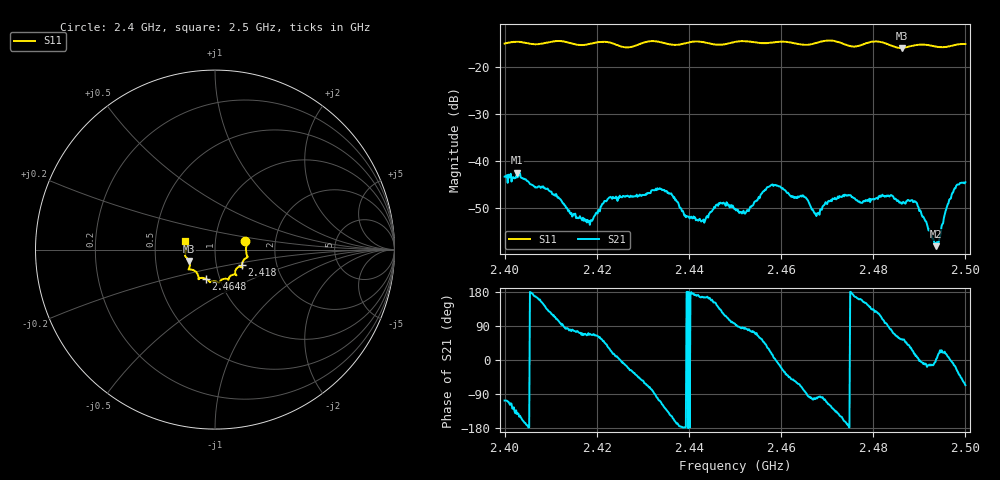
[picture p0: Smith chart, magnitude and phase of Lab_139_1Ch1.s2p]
# Hz S RI R 50
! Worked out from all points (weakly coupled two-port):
!   601 points, 2.4 GHz to 2.5 GHz, reference 50 ohm
!   highest |S21| = -42.56 dB at 2.4027 GHz (marker M1); lowest = -58.1 dB at 2.4937 GHz (marker M2)
!   lowest |S11| = -16.1 dB at 2.4862 GHz (marker M3), VSWR 1.37, Z = 37.1 - j4.83 ohm
!   |S11| at or under -10 dB: start of sweep to end of sweep
!   S12 and S22 are empty: the file has one direction only
!   S11 on the Smith chart (normalised r, x): 2.4 GHz: 1.40, +0.13; 2.418 GHz: 1.33, -0.23; 2.4648 GHz: 0.86, -0.29; 2.5 GHz: 0.71, +0.07
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2.4e9  0.1692 0.046  -0.00198 -0.00649  0 0  0 0
2.402667e9  0.1797 0.0339  -0.0059 -0.00454  0 0  0 0
2.409667e9  0.1784 -0.033  -0.00294 0.0038  0 0  0 0
2.416667e9  0.1547 -0.068  0.000962 0.00223  0 0  0 0
2.418e9  0.1501 -0.0835  0.000941 0.00216  0 0  0 0
2.422667e9  0.1514 -0.0985  0.00349 0.00209  0 0  0 0
2.433333e9  0.1175 -0.141  -0.00122 -0.00482  0 0  0 0
2.442e9  0.0744 -0.1688  -0.00228 0.000341  0 0  0 0
2.447e9  0.0435 -0.1648  -0.00231 0.00268  0 0  0 0
2.45e9  0.0253 -0.1809  -0.000309 0.00308  0 0  0 0
2.4525e9  0.0203 -0.1844  0.000383 0.00288  0 0  0 0
2.458167e9  -0.019 -0.179  0.00545 0.0013  0 0  0 0
2.464833e9  -0.0506 -0.1629  0.000869 -0.00418  0 0  0 0
2.466667e9  -0.0716 -0.1574  -0.000601 -0.00297  0 0  0 0
2.467833e9  -0.0826 -0.1587  -0.000533 -0.00271  0 0  0 0
2.473833e9  -0.094 -0.144  -0.00416 -0.00134  0 0  0 0
2.483333e9  -0.1413 -0.0964  0.000132 0.00427  0 0  0 0
2.486167e9  -0.1441 -0.0634  0.002 0.00286  0 0  0 0
2.489333e9  -0.1645 -0.0395  0.00354 0.000738  0 0  0 0
2.493667e9  -0.1622 -0.0127  0.00124 6e-05  0 0  0 0
2.4975e9  -0.1652 0.0323  0.00476 -0.00119  0 0  0 0
2.5e9  -0.1669 0.0467  0.00238 -0.00541  0 0  0 0
